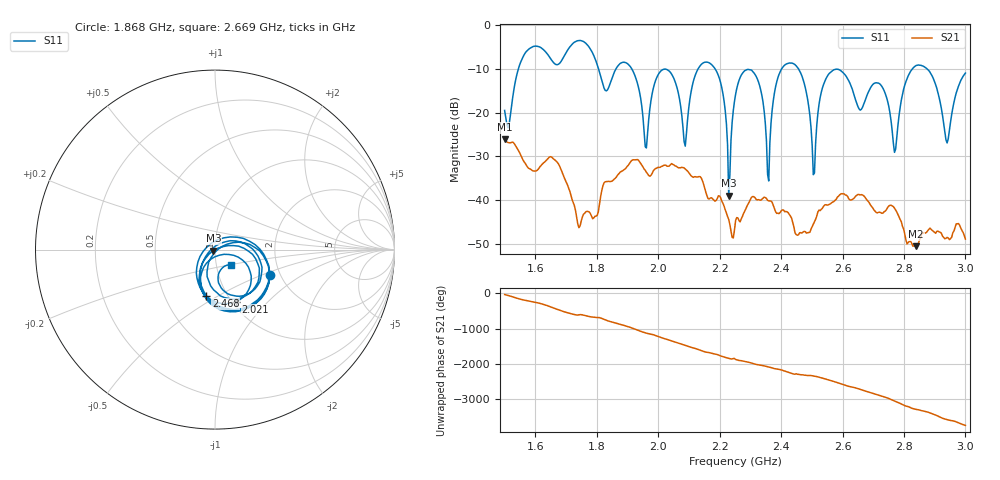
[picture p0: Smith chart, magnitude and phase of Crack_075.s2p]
# HZ S RI R 50
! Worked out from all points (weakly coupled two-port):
!   404 points, 1.5 GHz to 3 GHz, reference 50 ohm
!   highest |S21| = -26.10 dB at 1.5 GHz (marker M1); lowest = -50.5 dB at 2.84 GHz (marker M2)
!   lowest |S11| = -39.0 dB at 2.23 GHz (marker M3), VSWR 1.02, Z = 49.1 - j0.619 ohm
!   |S11| at or under -10 dB: 1.914 GHz to 2.13 GHz (216.6 MHz wide, 10.7 % of centre); 2.185 GHz to 2.402 GHz (217.3 MHz wide, 9.48 % of centre); 2.457 GHz to 2.828 GHz (371.4 MHz wide, 14.1 % of centre) (the widest 3 of 6)
!   S12 and S22 are empty: the file has one direction only
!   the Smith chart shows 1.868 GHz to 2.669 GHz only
!   S11 on the Smith chart (normalised r, x): 1.868 GHz: 1.77, -0.57; 2.021 GHz: 1.04, -0.67; 2.468 GHz: 0.80, -0.44; 2.669 GHz: 1.18, -0.20
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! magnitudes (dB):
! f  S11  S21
! 1.5 GHz  -19.5  -26.1
! 1.753 GHz  -3.7  -43.8
! 1.868 GHz  -9.4  -34.2
! 1.962 GHz  -28.1  -33.6
! 2.002 GHz  -11.1  -32.5
! 2.021 GHz  -10.1  -32.0
! 2.088 GHz  -27.7  -32.9
! 2.181 GHz  -9.6  -40.0
! 2.23 GHz  -39.0  -44.4
! 2.252 GHz  -15.9  -44.6
! 2.315 GHz  -11.3  -39.4
! 2.36 GHz  -35.6  -40.2
! 2.397 GHz  -10.7  -42.8
! 2.468 GHz  -11.6  -47.5
! 2.501 GHz  -27.5  -46.0
! 2.565 GHz  -10.6  -40.6
! 2.669 GHz  -18.2  -39.0
! 2.751 GHz  -18.6  -41.3
! 2.773 GHz  -28.3  -42.2
! 2.84 GHz  -9.3  -50.5
! 2.94 GHz  -26.9  -48.5
! 3 GHz  -11.0  -48.9
